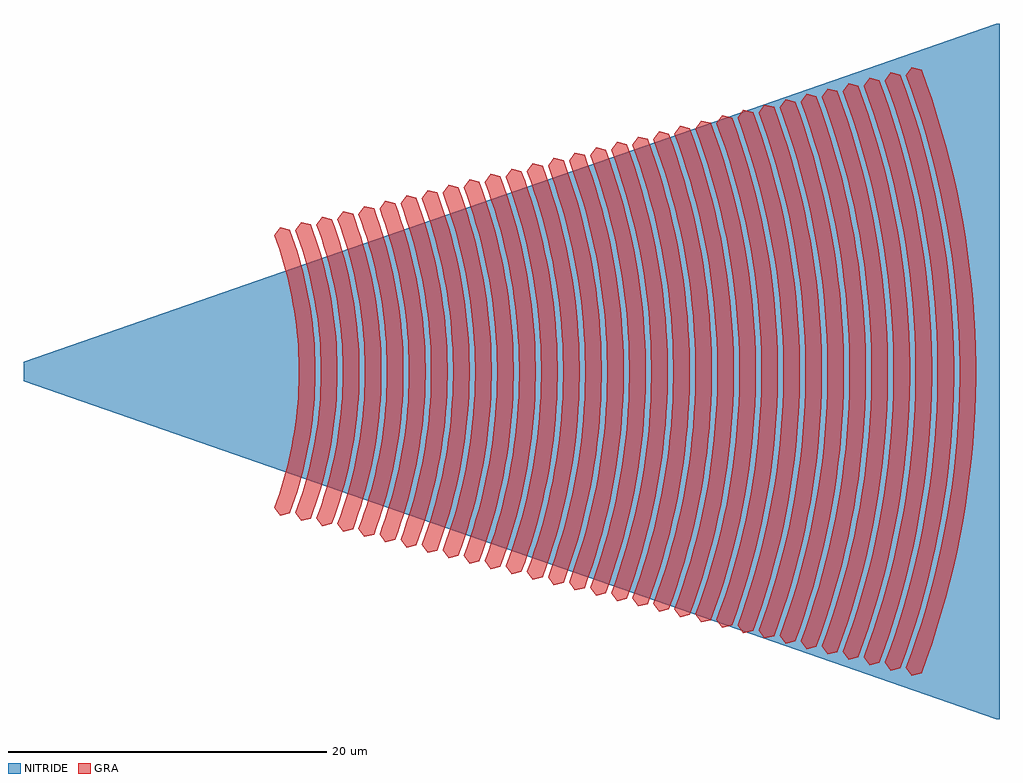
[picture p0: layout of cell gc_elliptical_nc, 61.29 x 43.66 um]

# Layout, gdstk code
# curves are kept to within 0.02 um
import gdstk
lib = gdstk.Library(unit=1e-6, precision=1e-09)
def P(c, l, *ps):  # polygons
    for p in ps: c.add(gdstk.Polygon(p, *l))
GRA = (6, 0)
NITRIDE = (203, 0)

gc_elliptical_nc = lib.new_cell('gc_elliptical_nc')
P(gc_elliptical_nc, GRA, [(34.264,-9.048),(33.893,-8.545),(34.192,-7.694),(34.581,-6.405),(34.988,-4.662),(35.208,-3.34),(35.314,-2.452),(35.413,-1.116),(35.437,-0.223),(35.413,1.116),(35.355,2.007),(35.208,3.34),(35.069,4.223),(34.8,5.538),(34.581,6.405),(34.192,7.694),(33.893,8.545),(34.264,9.048),(34.871,8.899),(35.323,7.576),(35.703,6.227),(36.008,4.862),(36.238,3.482),(36.426,1.629),(36.477,0.233),(36.426,-1.629),(36.297,-3.019),(36.093,-4.403),(35.814,-5.774),(35.323,-7.576),(34.871,-8.899)],
  [(35.586,-9.384),(35.215,-8.881),(35.67,-7.552),(35.93,-6.658),(36.159,-5.755),(36.438,-4.389),(36.693,-2.549),(36.795,-1.16),(36.82,-0.232),(36.795,1.16),(36.735,2.086),(36.642,3.01),(36.438,4.389),(36.159,5.755),(35.93,6.658),(35.67,7.552),(35.215,8.881),(35.586,9.384),(36.193,9.235),(36.662,7.862),(37.056,6.463),(37.462,4.569),(37.674,3.134),(37.807,1.691),(37.86,0.242),(37.807,-1.691),(37.674,-3.134),(37.462,-4.569),(37.171,-5.991),(36.662,-7.862),(36.193,-9.235)],
  [(36.907,-9.719),(36.537,-9.215),(37.149,-7.374),(37.516,-5.973),(37.718,-5.029),(37.956,-3.602),(38.071,-2.645),(38.177,-1.203),(38.203,-0.241),(38.177,1.203),(38.115,2.165),(38.018,3.124),(37.806,4.554),(37.516,5.973),(37.279,6.91),(37.009,7.837),(36.537,9.215),(36.907,9.719),(37.515,9.571),(38.001,8.147),(38.41,6.696),(38.738,5.227),(38.986,3.744),(39.188,1.751),(39.243,0.251),(39.188,-1.751),(39.05,-3.248),(38.83,-4.734),(38.528,-6.209),(38.147,-7.666),(37.515,-9.571)],
  [(38.231,-10.055),(37.86,-9.552),(38.493,-7.643),(38.756,-6.677),(39.084,-5.212),(39.33,-3.733),(39.449,-2.74),(39.559,-1.247),(39.586,-0.249),(39.559,1.247),(39.495,2.244),(39.33,3.733),(39.175,4.72),(38.984,5.702),(38.629,7.16),(38.349,8.123),(37.86,9.552),(38.231,10.055),(38.838,9.906),(39.341,8.433),(39.764,6.931),(40.104,5.41),(40.36,3.875),(40.531,2.33),(40.626,0.259),(40.569,-1.812),(40.426,-3.361),(40.199,-4.9),(39.886,-6.426),(39.491,-7.935),(38.838,-9.906)],
  [(39.553,-10.39),(39.182,-9.887),(39.838,-7.911),(40.11,-6.911),(40.449,-5.394),(40.704,-3.864),(40.827,-2.838),(40.941,-1.291),(40.969,-0.258),(40.941,1.291),(40.874,2.323),(40.704,3.864),(40.543,4.886),(40.232,6.408),(39.978,7.413),(39.688,8.408),(39.182,9.887),(39.553,10.39),(40.16,10.241),(40.68,8.718),(41.118,7.165),(41.469,5.594),(41.734,4.006),(41.95,1.875),(42.009,0.268),(41.979,-1.339),(41.861,-2.942),(41.656,-4.537),(41.244,-6.644),(40.836,-8.203),(40.16,-10.241)],
  [(40.876,-10.726),(40.505,-10.223),(41.028,-8.693),(41.327,-7.664),(41.59,-6.625),(41.912,-5.052),(42.078,-3.996),(42.254,-2.401),(42.323,-1.335),(42.352,-0.267),(42.323,1.335),(42.254,2.401),(42.078,3.996),(41.912,5.052),(41.59,6.625),(41.327,7.664),(41.028,8.693),(40.505,10.223),(40.876,10.726),(41.483,10.577),(42.02,9.003),(42.331,7.938),(42.602,6.861),(42.936,5.232),(43.178,3.589),(43.331,1.935),(43.392,0.277),(43.361,-1.383),(43.239,-3.039),(43.027,-4.686),(42.834,-5.778),(42.602,-6.861),(42.331,-7.938),(42.02,-9.003),(41.483,-10.577)],
  [(42.198,-11.061),(41.827,-10.558),(42.197,-9.507),(42.527,-8.448),(42.948,-6.843),(43.18,-5.762),(43.452,-4.126),(43.583,-3.03),(43.705,-1.379),(43.735,-0.276),(43.705,1.379),(43.634,2.48),(43.523,3.579),(43.28,5.218),(43.069,6.303),(42.677,7.916),(42.197,9.507),(41.827,10.558),(42.198,11.061),(42.805,10.912),(43.36,9.288),(43.681,8.188),(43.96,7.079),(44.304,5.398),(44.555,3.703),(44.712,1.996),(44.775,0.286),(44.764,-0.856),(44.712,-1.996),(44.555,-3.703),(44.304,-5.398),(43.96,-7.079),(43.681,-8.188),(43.36,-9.288),(42.805,-10.912)],
  [(43.52,-11.397),(43.149,-10.894),(43.532,-9.809),(44.026,-8.167),(44.431,-6.503),(44.649,-5.384),(44.826,-4.258),(44.961,-3.127),(45.087,-1.423),(45.118,-0.284),(45.087,1.423),(45.013,2.559),(44.899,3.692),(44.649,5.384),(44.431,6.503),(44.026,8.167),(43.532,9.809),(43.149,10.894),(43.52,11.397),(44.127,11.248),(44.7,9.573),(45.03,8.441),(45.318,7.296),(45.673,5.564),(45.931,3.816),(46.093,2.059),(46.158,0.294),(46.147,-0.882),(46.093,-2.059),(45.931,-3.816),(45.673,-5.564),(45.318,-7.296),(45.03,-8.441),(44.7,-9.573),(44.127,-11.248)],
  [(44.843,-11.732),(44.472,-11.229),(44.865,-10.111),(45.216,-8.987),(45.664,-7.278),(45.91,-6.128),(46.2,-4.389),(46.34,-3.223),(46.469,-1.466),(46.501,-0.293),(46.469,1.466),(46.393,2.638),(46.2,4.389),(46.017,5.55),(45.664,7.278),(45.375,8.419),(45.046,9.55),(44.472,11.229),(44.843,11.732),(45.45,11.583),(45.853,10.439),(46.214,9.277),(46.676,7.514),(47.041,5.73),(47.307,3.93),(47.474,2.12),(47.541,0.303),(47.507,-1.514),(47.374,-3.327),(47.141,-5.132),(46.81,-6.921),(46.533,-8.104),(46.214,-9.277),(45.853,-10.439),(45.45,-11.583)],
  [(46.165,-12.068),(45.794,-11.565),(46.199,-10.413),(46.561,-9.254),(46.879,-8.084),(47.276,-6.31),(47.574,-4.52),(47.718,-3.319),(47.851,-1.51),(47.884,-0.302),(47.851,1.51),(47.773,2.717),(47.574,4.52),(47.386,5.716),(47.022,7.495),(46.725,8.671),(46.386,9.835),(45.794,11.565),(46.165,12.068),(46.772,11.919),(47.187,10.741),(47.559,9.546),(48.034,7.731),(48.41,5.896),(48.683,4.044),(48.855,2.18),(48.924,0.312),(48.889,-1.558),(48.752,-3.423),(48.513,-5.28),(48.17,-7.122),(47.887,-8.338),(47.559,-9.546),(47.187,-10.741),(46.772,-11.919)],
  [(47.487,-12.403),(47.116,-11.899),(47.533,-10.716),(47.905,-9.523),(48.233,-8.319),(48.641,-6.494),(48.856,-5.267),(49.096,-3.415),(49.233,-1.554),(49.267,-0.311),(49.233,1.554),(49.153,2.796),(49.027,4.034),(48.754,5.881),(48.38,7.713),(48.074,8.922),(47.533,10.716),(47.116,11.899),(47.487,12.403),(48.094,12.255),(48.718,10.431),(49.078,9.196),(49.392,7.949),(49.778,6.061),(50.059,4.158),(50.236,2.242),(50.307,0.321),(50.271,-1.602),(50.13,-3.521),(49.884,-5.429),(49.533,-7.322),(49.241,-8.573),(48.903,-9.815),(48.521,-11.044),(48.094,-12.255)],
  [(48.81,-12.739),(48.439,-12.236),(49.064,-10.406),(49.423,-9.174),(49.738,-7.93),(50.123,-6.047),(50.321,-4.782),(50.474,-3.512),(50.615,-1.598),(50.65,-0.319),(50.615,1.598),(50.532,2.875),(50.404,4.147),(50.123,6.047),(49.738,7.93),(49.423,9.174),(49.064,10.406),(48.439,12.236),(48.81,12.739),(49.417,12.59),(49.855,11.345),(50.248,10.083),(50.75,8.166),(51.147,6.227),(51.436,4.271),(51.617,2.304),(51.69,0.329),(51.653,-1.646),(51.508,-3.616),(51.255,-5.576),(50.895,-7.522),(50.594,-8.808),(50.248,-10.083),(49.855,-11.345),(49.417,-12.59)],
  [(50.132,-13.074),(49.761,-12.571),(50.201,-11.32),(50.773,-9.426),(51.096,-8.148),(51.371,-6.861),(51.599,-5.564),(51.852,-3.608),(51.997,-1.642),(52.032,-0.328),(51.997,1.642),(51.912,2.953),(51.78,4.261),(51.491,6.213),(51.096,8.148),(50.773,9.426),(50.201,11.32),(49.761,12.571),(50.132,13.074),(50.739,12.925),(51.397,11.002),(51.777,9.698),(52.108,8.384),(52.515,6.393),(52.812,4.385),(52.998,2.365),(53.072,0.338),(53.035,-1.69),(52.886,-3.712),(52.627,-5.726),(52.257,-7.723),(51.948,-9.042),(51.592,-10.352),(51.189,-11.648),(50.739,-12.925)],
  [(51.455,-13.41),(51.084,-12.907),(51.535,-11.623),(51.939,-10.328),(52.454,-8.365),(52.737,-7.043),(53.069,-5.045),(53.23,-3.705),(53.379,-1.686),(53.415,-0.337),(53.379,1.686),(53.292,3.032),(53.156,4.375),(52.86,6.379),(52.454,8.365),(52.122,9.678),(51.743,10.977),(51.084,12.907),(51.455,13.41),(52.062,13.261),(52.523,11.949),(52.937,10.62),(53.466,8.601),(53.884,6.559),(54.188,4.499),(54.379,2.426),(54.455,0.347),(54.417,-1.734),(54.264,-3.809),(53.998,-5.873),(53.617,-7.923),(53.302,-9.277),(52.937,-10.62),(52.523,-11.949),(52.062,-13.261)],
  [(52.777,-13.745),(52.406,-13.242),(52.869,-11.924),(53.283,-10.598),(53.812,-8.583),(54.102,-7.227),(54.342,-5.861),(54.608,-3.8),(54.761,-1.729),(54.798,-0.347),(54.761,1.729),(54.672,3.111),(54.532,4.489),(54.228,6.545),(53.812,8.583),(53.471,9.928),(53.083,11.262),(52.406,13.242),(52.777,13.745),(53.384,13.596),(54.075,11.572),(54.475,10.202),(54.824,8.819),(55.252,6.725),(55.564,4.613),(55.76,2.487),(55.838,0.355),(55.799,-1.777),(55.642,-3.906),(55.37,-6.023),(54.98,-8.124),(54.656,-9.513),(54.281,-10.888),(53.857,-12.252),(53.384,-13.596)],
  [(54.099,-14.081),(53.728,-13.577),(54.422,-11.548),(54.821,-10.18),(55.17,-8.8),(55.597,-6.711),(55.908,-4.603),(56.051,-3.19),(56.143,-1.773),(56.181,-0.355),(56.168,1.065),(56.103,2.482),(55.986,3.897),(55.817,5.307),(55.467,7.409),(55.002,9.492),(54.422,11.548),(53.728,13.577),(54.099,14.081),(54.706,13.933),(55.191,12.554),(55.626,11.158),(56.182,9.036),(56.621,6.891),(56.94,4.727),(57.141,2.55),(57.221,0.365),(57.181,-1.821),(57.02,-4.001),(56.741,-6.171),(56.342,-8.324),(56.01,-9.746),(55.626,-11.158),(55.191,-12.554),(54.706,-13.933)],
  [(55.422,-14.416),(55.051,-13.913),(55.761,-11.833),(56.17,-10.432),(56.528,-9.018),(56.833,-7.593),(57.191,-5.438),(57.365,-3.994),(57.525,-1.817),(57.564,-0.363),(57.551,1.091),(57.484,2.543),(57.365,3.994),(57.191,5.438),(56.833,7.593),(56.355,9.727),(55.761,11.833),(55.051,13.913),(55.422,14.416),(56.029,14.267),(56.755,12.143),(57.174,10.706),(57.54,9.254),(57.989,7.057),(58.317,4.84),(58.522,2.611),(58.604,0.373),(58.563,-1.865),(58.399,-4.098),(58.112,-6.32),(57.704,-8.524),(57.363,-9.981),(56.97,-11.426),(56.525,-12.857),(56.029,-14.267)],
  [(56.744,-14.751),(56.373,-14.248),(57.101,-12.119),(57.519,-10.684),(57.886,-9.235),(58.334,-7.043),(58.565,-5.57),(58.743,-4.09),(58.907,-1.861),(58.947,-0.372),(58.933,1.117),(58.865,2.605),(58.743,4.09),(58.565,5.57),(58.198,7.776),(57.709,9.961),(57.101,12.119),(56.373,14.248),(56.744,14.751),(57.351,14.602),(57.859,13.159),(58.315,11.695),(58.898,9.471),(59.358,7.223),(59.693,4.954),(59.903,2.671),(59.987,0.382),(59.945,-1.909),(59.777,-4.194),(59.484,-6.469),(59.066,-8.725),(58.717,-10.215),(58.315,-11.695),(57.859,-13.159),(57.351,-14.602)],
  [(58.066,-15.087),(57.695,-14.584),(58.205,-13.133),(58.662,-11.671),(59.244,-9.453),(59.563,-7.958),(59.939,-5.701),(60.121,-4.185),(60.289,-1.905),(60.33,-0.381),(60.316,1.144),(60.246,2.667),(60.121,4.185),(59.939,5.701),(59.563,7.958),(59.063,10.196),(58.441,12.404),(57.695,14.584),(58.066,15.087),(58.673,14.938),(59.193,13.461),(59.66,11.963),(60.256,9.689),(60.726,7.388),(61.069,5.068),(61.284,2.733),(61.37,0.391),(61.327,-1.953),(61.155,-4.291),(60.855,-6.617),(60.427,-8.925),(60.071,-10.45),(59.66,-11.963),(59.193,-13.461),(58.673,-14.938)],
  [(59.389,-15.422),(59.018,-14.919),(59.54,-13.435),(60.006,-11.94),(60.602,-9.67),(60.929,-8.142),(61.199,-6.604),(61.499,-4.283),(61.671,-1.949),(61.713,-0.39),(61.699,1.17),(61.627,2.727),(61.499,4.283),(61.313,5.832),(60.929,8.142),(60.417,10.431),(59.779,12.69),(59.018,14.919),(59.389,15.422),(59.996,15.273),(60.773,13),(61.222,11.46),(61.614,9.906),(62.095,7.554),(62.445,5.182),(62.665,2.795),(62.753,0.4),(62.709,-1.997),(62.533,-4.387),(62.227,-6.766),(61.788,-9.125),(61.425,-10.685),(61.004,-12.232),(60.528,-13.763),(59.996,-15.273)],
  [(60.711,-15.758),(60.34,-15.255),(61.119,-12.975),(61.771,-10.665),(62.294,-8.326),(62.57,-6.752),(62.789,-5.171),(62.95,-3.584),(63.053,-1.993),(63.096,-0.398),(63.081,1.196),(63.008,2.788),(62.877,4.378),(62.687,5.963),(62.294,8.326),(61.771,10.665),(61.119,12.975),(60.34,15.255),(60.711,15.758),(61.318,15.609),(61.862,14.066),(62.349,12.499),(62.779,10.919),(63.15,9.326),(63.598,6.914),(63.911,4.484),(64.091,2.041),(64.136,0.408),(64.091,-2.041),(63.911,-4.484),(63.598,-6.914),(63.15,-9.326),(62.779,-10.919),(62.349,-12.499),(61.862,-14.066),(61.318,-15.609)],
  [(62.033,-16.093),(61.662,-15.589),(62.208,-14.04),(62.917,-11.691),(63.495,-9.308),(63.941,-6.901),(64.166,-5.285),(64.33,-3.663),(64.435,-2.036),(64.479,-0.407),(64.464,1.222),(64.389,2.851),(64.255,4.475),(64.061,6.093),(63.659,8.508),(63.124,10.9),(62.458,13.26),(61.662,15.589),(62.033,16.093),(62.64,15.945),(63.196,14.368),(63.693,12.769),(64.132,11.154),(64.513,9.526),(64.969,7.063),(65.198,5.409),(65.427,2.917),(65.519,0.417),(65.473,-2.084),(65.289,-4.579),(64.969,-7.063),(64.513,-9.526),(64.132,-11.154),(63.693,-12.769),(63.196,-14.368),(62.64,-15.945)],
  [(63.356,-16.429),(62.985,-15.926),(63.799,-13.546),(64.478,-11.134),(65.024,-8.691),(65.313,-7.049),(65.542,-5.399),(65.71,-3.742),(65.817,-2.08),(65.862,-0.416),(65.817,2.08),(65.71,3.742),(65.542,5.399),(65.313,7.049),(65.024,8.691),(64.478,11.134),(63.799,13.546),(62.985,15.926),(63.356,16.429),(63.963,16.28),(64.53,14.67),(65.038,13.038),(65.486,11.388),(65.874,9.727),(66.341,7.211),(66.574,5.523),(66.808,2.978),(66.902,0.426),(66.855,-2.128),(66.667,-4.676),(66.341,-7.211),(65.874,-9.727),(65.486,-11.388),(65.038,-13.038),(64.53,-14.67),(63.963,-16.28)],
  [(64.678,-16.764),(64.307,-16.26),(65.137,-13.831),(65.832,-11.369),(66.39,-8.874),(66.684,-7.198),(66.918,-5.513),(67.089,-3.821),(67.199,-2.124),(67.245,-0.425),(67.199,2.124),(67.089,3.821),(66.918,5.513),(66.684,7.198),(66.39,8.874),(65.832,11.369),(65.137,13.831),(64.307,16.26),(64.678,16.764),(65.285,16.616),(65.864,14.971),(66.382,13.306),(66.84,11.623),(67.235,9.927),(67.712,7.36),(68.046,4.772),(68.237,2.172),(68.285,0.435),(68.237,-2.172),(68.046,-4.772),(67.712,-7.36),(67.235,-9.927),(66.84,-11.623),(66.382,-13.306),(65.864,-14.971),(65.285,-16.616)],
  [(66.001,-17.1),(65.63,-16.597),(66.478,-14.117),(67.186,-11.604),(67.755,-9.058),(68.055,-7.346),(68.294,-5.626),(68.469,-3.9),(68.581,-2.168),(68.628,-0.434),(68.581,2.168),(68.469,3.9),(68.294,5.626),(68.055,7.346),(67.755,9.058),(67.186,11.604),(66.478,14.117),(65.63,16.597),(66.001,17.1),(66.608,16.951),(67.198,15.274),(67.727,13.575),(68.194,11.858),(68.598,10.127),(69.083,7.508),(69.424,4.868),(69.619,2.216),(69.668,0.444),(69.619,-2.216),(69.424,-4.868),(69.083,-7.508),(68.598,-10.127),(68.194,-11.858),(67.727,-13.575),(67.198,-15.274),(66.608,-16.951)],
  [(67.323,-17.435),(66.952,-16.932),(67.816,-14.402),(68.54,-11.838),(69.12,-9.24),(69.427,-7.495),(69.67,-5.74),(69.849,-3.978),(69.963,-2.212),(70.011,-0.442),(69.963,2.212),(69.849,3.978),(69.67,5.74),(69.427,7.495),(69.12,9.24),(68.54,11.838),(67.816,14.402),(66.952,16.932),(67.323,17.435),(67.93,17.286),(68.532,15.577),(69.071,13.843),(69.548,12.092),(69.96,10.328),(70.455,7.657),(70.802,4.966),(71.001,2.26),(71.051,0.452),(71.001,-2.26),(70.802,-4.966),(70.455,-7.657),(69.96,-10.328),(69.548,-12.092),(69.071,-13.843),(68.532,-15.577),(67.93,-17.286)],
  [(68.645,-17.771),(68.274,-17.268),(69.157,-14.688),(69.893,-12.073),(70.486,-9.425),(70.798,-7.644),(71.047,-5.854),(71.229,-4.057),(71.345,-2.256),(71.394,-0.451),(71.345,2.256),(71.229,4.057),(71.047,5.854),(70.798,7.644),(70.486,9.425),(69.893,12.073),(69.157,14.688),(68.274,17.268),(68.645,17.771),(69.252,17.622),(69.866,15.879),(70.416,14.111),(70.901,12.327),(71.321,10.528),(71.826,7.806),(72.079,5.978),(72.332,3.223),(72.434,0.461),(72.383,-2.304),(72.18,-5.061),(71.826,-7.806),(71.321,-10.528),(70.901,-12.327),(70.416,-14.111),(69.866,-15.879),(69.252,-17.622)],
  [(69.968,-18.106),(69.597,-17.603),(70.496,-14.973),(71.013,-13.2),(71.665,-10.51),(72.17,-7.792),(72.423,-5.968),(72.608,-4.136),(72.727,-2.299),(72.777,-0.46),(72.76,1.38),(72.676,3.218),(72.423,5.968),(72.17,7.792),(71.665,10.51),(71.013,13.2),(70.496,14.973),(69.597,17.603),(69.968,18.106),(70.575,17.957),(71.2,16.181),(71.761,14.38),(72.255,12.561),(72.683,10.728),(73.198,7.954),(73.455,6.092),(73.714,3.286),(73.817,0.47),(73.765,-2.347),(73.558,-5.157),(73.198,-7.954),(72.683,-10.728),(72.255,-12.561),(71.761,-14.38),(71.2,-16.181),(70.575,-17.957)],
  [(71.29,-18.442),(70.919,-17.939),(71.836,-15.259),(72.601,-12.542),(73.216,-9.791),(73.541,-7.941),(73.799,-6.082),(73.988,-4.215),(74.109,-2.343),(74.16,-0.469),(74.142,1.407),(74.057,3.28),(73.799,6.082),(73.541,7.941),(73.216,9.791),(72.601,12.542),(71.836,15.259),(70.919,17.939),(71.29,18.442),(71.897,18.293),(72.533,16.483),(73.105,14.648),(73.609,12.796),(74.045,10.929),(74.569,8.103),(74.831,6.206),(75.095,3.346),(75.2,0.479),(75.147,-2.391),(74.936,-5.254),(74.569,-8.103),(74.045,-10.929),(73.609,-12.796),(73.105,-14.648),(72.533,-16.483),(71.897,-18.293)],
  [(72.612,-18.777),(72.241,-18.274),(73.175,-15.544),(73.955,-12.777),(74.582,-9.973),(74.912,-8.089),(75.175,-6.195),(75.368,-4.294),(75.491,-2.387),(75.543,-0.477),(75.491,2.387),(75.368,4.294),(75.175,6.195),(74.912,8.089),(74.582,9.973),(73.955,12.777),(73.175,15.544),(72.241,18.274),(72.612,18.777),(73.219,18.628),(73.868,16.786),(74.45,14.918),(74.963,13.031),(75.406,11.129),(75.78,9.213),(76.207,6.319),(76.476,3.407),(76.583,0.487),(76.529,-2.435),(76.314,-5.351),(75.94,-8.251),(75.406,-11.129),(74.963,-13.031),(74.45,-14.918),(73.868,-16.786),(73.219,-18.628)],
  [(73.935,-19.113),(73.564,-18.61),(74.514,-15.829),(75.309,-13.011),(75.947,-10.157),(76.284,-8.238),(76.552,-6.309),(76.748,-4.373),(76.873,-2.431),(76.926,-0.486),(76.873,2.431),(76.748,4.373),(76.552,6.309),(76.284,8.238),(75.947,10.157),(75.309,13.011),(74.514,15.829),(73.564,18.61),(73.935,19.113),(74.542,18.964),(75.202,17.088),(75.794,15.186),(76.317,13.265),(76.769,11.329),(77.312,8.4),(77.584,6.433),(77.857,3.469),(77.966,0.496),(77.911,-2.479),(77.692,-5.446),(77.312,-8.4),(76.769,-11.329),(76.317,-13.265),(75.794,-15.186),(75.202,-17.088),(74.542,-18.964)])
P(gc_elliptical_nc, NITRIDE, [(18.146,-0.6),(18.146,0.6),(79.237,21.831),(79.437,21.831),(79.437,-21.831),(79.237,-21.831)])

lib.write_gds('gc_elliptical_nc.gds')
